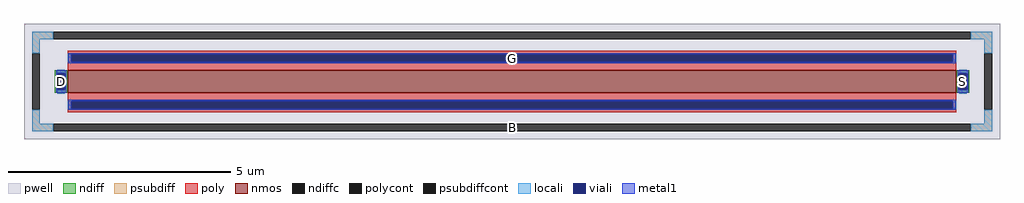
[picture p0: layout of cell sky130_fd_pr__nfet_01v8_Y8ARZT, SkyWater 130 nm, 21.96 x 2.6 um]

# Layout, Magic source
magic
tech sky130A
magscale 1 2
<< pwell >>
rect -2196 -260 2196 260
<< nmos >>
rect -2000 -50 2000 50
<< ndiff >>
rect -2058 38 -2000 50
rect -2058 -38 -2046 38
rect -2012 -38 -2000 38
rect -2058 -50 -2000 -38
rect 2000 38 2058 50
rect 2000 -38 2012 38
rect 2046 -38 2058 38
rect 2000 -50 2058 -38
<< ndiffc >>
rect -2046 -38 -2012 38
rect 2012 -38 2046 38
<< psubdiff >>
rect -2160 190 -2064 224
rect 2064 190 2160 224
rect -2160 128 -2126 190
rect 2126 128 2160 190
rect -2160 -190 -2126 -128
rect 2126 -190 2160 -128
rect -2160 -224 -2064 -190
rect 2064 -224 2160 -190
<< psubdiffcont >>
rect -2064 190 2064 224
rect -2160 -128 -2126 128
rect 2126 -128 2160 128
rect -2064 -224 2064 -190
<< poly >>
rect -2000 122 2000 138
rect -2000 88 -1984 122
rect 1984 88 2000 122
rect -2000 50 2000 88
rect -2000 -88 2000 -50
rect -2000 -122 -1984 -88
rect 1984 -122 2000 -88
rect -2000 -138 2000 -122
<< polycont >>
rect -1984 88 1984 122
rect -1984 -122 1984 -88
<< locali >>
rect -2160 190 -2064 224
rect 2064 190 2160 224
rect -2160 128 -2126 190
rect 2126 128 2160 190
rect -2000 88 -1984 122
rect 1984 88 2000 122
rect -2046 38 -2012 54
rect -2046 -54 -2012 -38
rect 2012 38 2046 54
rect 2012 -54 2046 -38
rect -2000 -122 -1984 -88
rect 1984 -122 2000 -88
rect -2160 -190 -2126 -128
rect 2126 -190 2160 -128
rect -2160 -224 -2064 -190
rect 2064 -224 2160 -190
<< viali >>
rect -1984 88 1984 122
rect -2046 -38 -2012 38
rect 2012 -38 2046 38
rect -1984 -122 1984 -88
<< metal1 >>
rect -1996 122 1996 128
rect -1996 88 -1984 122
rect 1984 88 1996 122
rect -1996 82 1996 88
rect -2052 38 -2006 50
rect -2052 -38 -2046 38
rect -2012 -38 -2006 38
rect -2052 -50 -2006 -38
rect 2006 38 2052 50
rect 2006 -38 2012 38
rect 2046 -38 2052 38
rect 2006 -50 2052 -38
rect -1996 -88 1996 -82
rect -1996 -122 -1984 -88
rect 1984 -122 1996 -88
rect -1996 -128 1996 -122
<< labels >>
rlabel psubdiffcont 0 -207 0 -207 0 B
port 5 nsew
rlabel ndiffc -2029 0 -2029 0 0 D
port 6 nsew
rlabel ndiffc 2029 0 2029 0 0 S
port 7 nsew
rlabel polycont 0 105 0 105 0 G
port 8 nsew
<< properties >>
string FIXED_BBOX -2143 -207 2143 207
string gencell sky130_fd_pr__nfet_01v8
string library sky130
string parameters w 0.5 l 20.0 m 1 nf 1 diffcov 100 polycov 100 guard 1 glc 1 grc 1 gtc 1 gbc 1 tbcov 100 rlcov 100 topc 1 botc 1 poverlap 0 doverlap 1 lmin 0.15 wmin 0.42 class mosfet compatible {sky130_fd_pr__nfet_01v8 sky130_fd_pr__nfet_01v8_lvt  sky130_fd_bs_flash__special_sonosfet_star  sky130_fd_pr__nfet_g5v0d10v5 sky130_fd_pr__nfet_05v0_nvt  sky130_fd_pr__nfet_03v3_nvt} full_metal 1 conn_gates 0 viasrc 100 viadrn 100 viagate 100 viagb 0 viagr 0 viagl 0 viagt 0 doports 1
<< end >>
